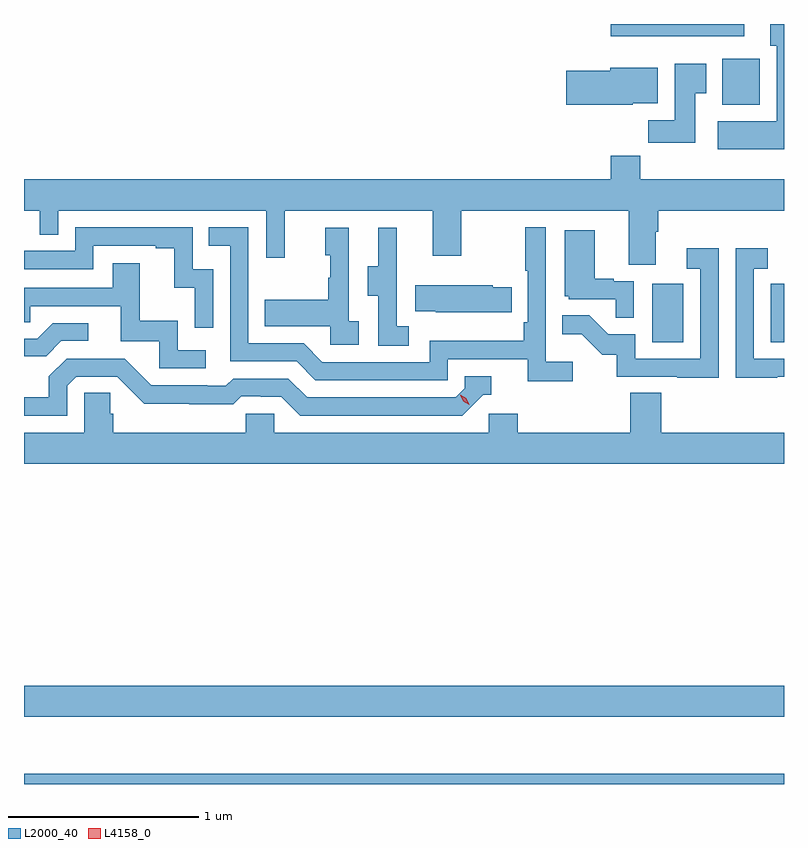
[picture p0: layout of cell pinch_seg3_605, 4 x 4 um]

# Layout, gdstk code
import gdstk
lib = gdstk.Library(unit=1e-6, precision=1e-09)
def R(c, l, rs):  # rectangles x0, y0, x1, y1
    for r in rs: c.add(gdstk.rectangle(r[:2], r[2:], *l))
def P(c, l, *ps):  # polygons
    for p in ps: c.add(gdstk.Polygon(p, *l))
L2000_40 = (2000, 40)
L4158_0 = (4158, 0)

pinch_seg3_605 = lib.new_cell('pinch_seg3_605')
R(pinch_seg3_605, L2000_40, [(1034.959,699.23,1038.959,699.283), (1034.959,699.584,1038.959,699.748), (1038.266,701.556,1038.43,701.863), (1038.89,701.556,1038.959,701.863), (1038.635,702.806,1038.832,703.048), (1038.047,703.166,1038.751,703.23)])
P(pinch_seg3_605, L2000_40, [(1038.959,703.228),(1038.887,703.228),(1038.887,703.115),(1038.92,703.115),(1038.92,702.718),(1038.611,702.718),(1038.611,702.572),(1038.959,702.572)],
  [(1038.493,702.865),(1038.55,702.865),(1038.55,703.021),(1038.383,703.021),(1038.383,702.724),(1038.244,702.724),(1038.244,702.606),(1038.493,702.606)],
  [(1038.162,702.812),(1038.295,702.812),(1038.295,703),(1038.044,703),(1038.044,702.983),(1037.814,702.983),(1037.814,702.806),(1038.162,702.806)],
  [(1038.283,702.136),(1038.296,702.136),(1038.296,702.248),(1038.959,702.248),(1038.959,702.412),(1038.203,702.412),(1038.203,702.536),(1038.047,702.536),(1038.047,702.412),(1034.959,702.412),(1034.959,702.248),(1035.042,702.248),(1035.042,702.121),(1035.138,702.121),(1035.138,702.248),(1036.233,702.248),(1036.233,702),(1036.331,702),(1036.331,702.248),(1037.111,702.248),(1037.111,702.009),(1037.259,702.009),(1037.259,702.248),(1038.143,702.248),(1038.143,701.962),(1038.283,701.962)],
  [(1037.848,701.452),(1037.706,701.452),(1037.706,702.16),(1037.598,702.16),(1037.598,701.932),(1037.61,701.932),(1037.61,701.659),(1037.59,701.659),(1037.59,701.563),(1037.094,701.563),(1037.094,701.451),(1036.53,701.451),(1036.431,701.55),(1036.14,701.55),(1036.14,702.159),(1035.931,702.159),(1035.931,702.063),(1036.044,702.063),(1036.044,701.454),(1036.394,701.454),(1036.493,701.355),(1037.19,701.355),(1037.19,701.466),(1037.609,701.466),(1037.609,701.35),(1037.848,701.35)],
  [(1035.954,701.94),(1035.846,701.94),(1035.846,702.159),(1035.228,702.159),(1035.228,702.036),(1034.959,702.036),(1034.959,701.94),(1035.324,701.94),(1035.324,702.063),(1035.653,702.063),(1035.653,702.051),(1035.749,702.051),(1035.749,701.843),(1035.858,701.843),(1035.858,701.631),(1035.954,701.631)],
  [(1036.984,701.639),(1036.92,701.639),(1036.92,701.943),(1036.922,701.943),(1036.922,702.157),(1036.823,702.157),(1036.823,701.955),(1036.769,701.955),(1036.769,701.8),(1036.824,701.8),(1036.824,701.536),(1036.984,701.536)],
  [(1036.72,701.666),(1036.668,701.666),(1036.668,702.157),(1036.544,702.157),(1036.544,702.012),(1036.57,702.012),(1036.57,701.894),(1036.56,701.894),(1036.56,701.779),(1036.225,701.779),(1036.225,701.639),(1036.572,701.639),(1036.572,701.541),(1036.72,701.541)],
  [(1038.168,701.877),(1038.062,701.877),(1038.062,701.89),(1037.962,701.89),(1037.962,702.145),(1037.804,702.145),(1037.804,701.796),(1037.826,701.796),(1037.826,701.781),(1038.073,701.781),(1038.073,701.683),(1038.168,701.683)],
  [(1038.615,702.049),(1038.447,702.049),(1038.447,701.943),(1038.519,701.943),(1038.519,701.469),(1038.177,701.469),(1038.177,701.598),(1038.033,701.598),(1037.935,701.696),(1037.791,701.696),(1037.791,701.597),(1037.895,701.597),(1038.002,701.49),(1038.079,701.49),(1038.079,701.373),(1038.397,701.373),(1038.397,701.368),(1038.615,701.368)],
  [(1038.923,701.373),(1038.959,701.373),(1038.959,701.469),(1038.801,701.469),(1038.801,701.943),(1038.874,701.943),(1038.874,702.049),(1038.705,702.049),(1038.705,701.368),(1038.923,701.368)],
  [(1035.916,701.514),(1035.768,701.514),(1035.768,701.668),(1035.569,701.668),(1035.569,701.971),(1035.425,701.971),(1035.425,701.841),(1034.959,701.841),(1034.959,701.661),(1034.993,701.661),(1034.993,701.745),(1035.467,701.745),(1035.467,701.559),(1035.672,701.559),(1035.672,701.418),(1035.916,701.418)],
  [(1037.525,701.844),(1037.427,701.844),(1037.427,701.854),(1037.017,701.854),(1037.017,701.717),(1037.125,701.717),(1037.125,701.714),(1037.525,701.714)],
  [(1035.156,701.562),(1035.298,701.562),(1035.298,701.655),(1035.11,701.655),(1035.029,701.574),(1034.959,701.574),(1034.959,701.482),(1035.076,701.482)],
  [(1035.186,701.325),(1035.234,701.373),(1035.45,701.373),(1035.592,701.231),(1035.828,701.231),(1035.828,701.229),(1036.061,701.229),(1036.103,701.271),(1036.206,701.271),(1036.206,701.268),(1036.313,701.268),(1036.412,701.169),(1037.265,701.169),(1037.376,701.28),(1037.419,701.28),(1037.419,701.376),(1037.28,701.376),(1037.28,701.313),(1037.232,701.265),(1036.449,701.265),(1036.35,701.364),(1036.061,701.364),(1036.022,701.325),(1035.923,701.325),(1035.923,701.328),(1035.63,701.328),(1035.489,701.469),(1035.183,701.469),(1035.089,701.375),(1035.089,701.265),(1034.959,701.265),(1034.959,701.169),(1035.186,701.169)],
  [(1038.959,701.08),(1038.314,701.08),(1038.314,701.288),(1038.149,701.288),(1038.149,701.08),(1037.558,701.08),(1037.558,701.178),(1037.406,701.178),(1037.406,701.08),(1036.275,701.08),(1036.275,701.178),(1036.125,701.178),(1036.125,701.08),(1035.428,701.08),(1035.428,701.178),(1035.413,701.178),(1035.413,701.288),(1035.276,701.288),(1035.276,701.08),(1034.959,701.08),(1034.959,700.916),(1038.959,700.916)])
P(pinch_seg3_605, L4158_0, [(1037.302,701.226),(1037.271,701.245),(1037.255,701.278),(1037.255,701.278),(1037.255,701.278),(1037.286,701.259),(1037.303,701.227),(1037.303,701.226)])

lib.write_gds('pinch_seg3_605.gds')
